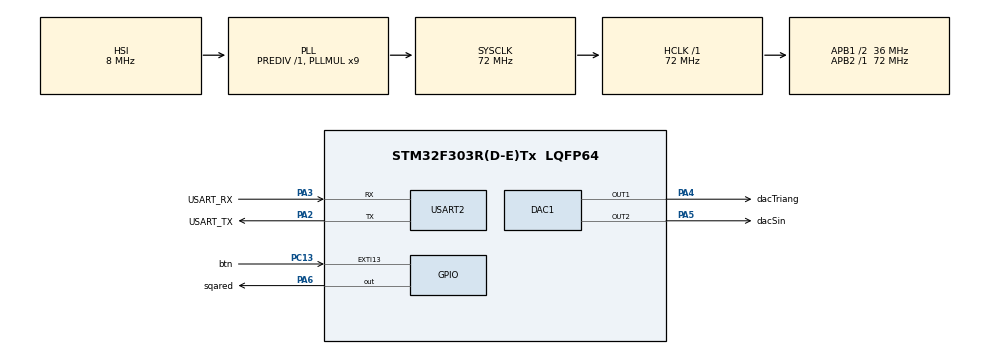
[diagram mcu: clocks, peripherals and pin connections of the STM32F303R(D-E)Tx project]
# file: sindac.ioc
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DAC1.DAC_Trigger=DAC_TRIGGER_SOFTWARE
DAC1.DAC_Trigger2=DAC_TRIGGER_SOFTWARE
DAC1.WaveGeneration2=DISABLE
Dma.DAC1_CH2.0.Direction=DMA_MEMORY_TO_PERIPH
Dma.DAC1_CH2.0.Instance=DMA1_Channel4
Dma.DAC1_CH2.0.MemDataAlignment=DMA_MDATAALIGN_HALFWORD
Dma.DAC1_CH2.0.MemInc=DMA_MINC_ENABLE
Dma.DAC1_CH2.0.Mode=DMA_CIRCULAR
Dma.DAC1_CH2.0.PeriphDataAlignment=DMA_PDATAALIGN_HALFWORD
Dma.DAC1_CH2.0.PeriphInc=DMA_PINC_DISABLE
Dma.DAC1_CH2.0.Priority=DMA_PRIORITY_LOW
Dma.Request0=DAC1_CH2
Mcu.Family=STM32F3
Mcu.Name=STM32F303R(D-E)Tx
Mcu.Package=LQFP64
NVIC.DMA1_Channel4_IRQn=true\:0\:0\:false\:false\:true\:false
NVIC.PriorityGroup=NVIC_PRIORITYGROUP_0
NVIC.TIM6_DAC_IRQn=true\:0\:0\:false\:false\:true\:true
PA13.GPIO_Label=TMS
PA13.Mode=Serial_Wire
PA13.Signal=SYS_JTMS-SWDIO
PA14.GPIO_Label=TCK
PA14.Mode=Serial_Wire
PA14.Signal=SYS_JTCK-SWCLK
PA2.GPIO_Label=USART_TX
PA2.GPIO_Mode=GPIO_MODE_AF_PP
PA2.GPIO_PuPd=GPIO_NOPULL
PA2.GPIO_Speed=GPIO_SPEED_FREQ_LOW
PA2.Mode=Asynchronous
PA2.Signal=USART2_TX
PA3.GPIO_Label=USART_RX
PA3.GPIO_Mode=GPIO_MODE_AF_PP
PA3.GPIO_PuPd=GPIO_NOPULL
PA3.GPIO_Speed=GPIO_SPEED_FREQ_LOW
PA3.Mode=Asynchronous
PA3.Signal=USART2_RX
PA4.GPIO_Label=dacTriang
PA4.Signal=COMP_DAC11_group
PA5.GPIO_Label=dacSin
PA5.Signal=COMP_DAC12_group
PA6.GPIO_Label=sqared
PA6.Signal=GPIO_Output
PB3.GPIO_Label=SWO
PB3.Signal=SYS_JTDO-TRACESWO
PC13.GPIO_Label=btn
PC13.GPIO_ModeDefaultEXTI=GPIO_MODE_IT_FALLING
PC13.Signal=GPXTI13
PC14-OSC32_IN.Signal=RCC_OSC32_IN
PC15-OSC32_OUT.Signal=RCC_OSC32_OUT
PF0-OSC_IN.Signal=RCC_OSC_IN
PF1-OSC_OUT.Signal=RCC_OSC_OUT
ProjectManager.HeapSize=0x200
ProjectManager.StackSize=0x400
ProjectManager.TargetToolchain=MDK-ARM V5
RCC.AHBFreq_Value=72000000
RCC.APB1CLKDivider=RCC_HCLK_DIV2
RCC.APB1Freq_Value=36000000
RCC.APB1TimFreq_Value=72000000
RCC.APB2Freq_Value=72000000
RCC.APB2TimFreq_Value=72000000
RCC.CortexFreq_Value=72000000
RCC.HCLKFreq_Value=72000000
RCC.HSE_VALUE=8000000
RCC.HSI_VALUE=8000000
RCC.LSE_VALUE=32768
RCC.PLLM=8
RCC.PLLMUL=RCC_PLL_MUL9
RCC.PLLN=336
RCC.PLLP=RCC_PLLP_DIV4
RCC.PLLQ=7
RCC.RCC_PLLsource_Clock_Source_FROM_HSE=RCC_HSE_PREDIV_DIV2
RCC.SYSCLKFreq_VALUE=72000000
RCC.SYSCLKSourceVirtual=RCC_SYSCLKSOURCE_PLLCLK
RCC.USBFreq_Value=72000000
SH.COMP_DAC11_group.0=DAC1_OUT1,DAC_OUT1
SH.COMP_DAC12_group.0=DAC1_OUT2,Enable_DAC_OUT2
USART2.VirtualMode-Asynchronous=VM_ASYNC
board=NUCLEO-F303RE

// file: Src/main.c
/**
  ******************************************************************************
  * @file           : main.c
  * @brief          : Main program body
  ******************************************************************************
  ** This notice applies to any and all portions of this file
  * that are not between comment pairs USER CODE BEGIN and
  * USER CODE END. Other portions of this file, whether
  * inserted by the user or by software development tools
  * are owned by their respective copyright owners.
  *
  * COPYRIGHT(c) 2018 STMicroelectronics
  *
  * Redistribution and use in source and binary forms, with or without modification,
  * are permitted provided that the following conditions are met:
  *   1. Redistributions of source code must retain the above copyright notice,
  *      this list of conditions and the following disclaimer.
  *   2. Redistributions in binary form must reproduce the above copyright notice,
  *      this list of conditions and the following disclaimer in the documentation
  *      and/or other materials provided with the distribution.
  *   3. Neither the name of STMicroelectronics nor the names of its contributors
  *      may be used to endorse or promote products derived from this software
  *      without specific prior written permission.
  *
  * THIS SOFTWARE IS PROVIDED BY THE COPYRIGHT HOLDERS AND CONTRIBUTORS "AS IS"
  * AND ANY EXPRESS OR IMPLIED WARRANTIES, INCLUDING, BUT NOT LIMITED TO, THE
  * IMPLIED WARRANTIES OF MERCHANTABILITY AND FITNESS FOR A PARTICULAR PURPOSE ARE
  * DISCLAIMED. IN NO EVENT SHALL THE COPYRIGHT HOLDER OR CONTRIBUTORS BE LIABLE
  * FOR ANY DIRECT, INDIRECT, INCIDENTAL, SPECIAL, EXEMPLARY, OR CONSEQUENTIAL
  * DAMAGES (INCLUDING, BUT NOT LIMITED TO, PROCUREMENT OF SUBSTITUTE GOODS OR
  * SERVICES; LOSS OF USE, DATA, OR PROFITS; OR BUSINESS INTERRUPTION) HOWEVER
  * CAUSED AND ON ANY THEORY OF LIABILITY, WHETHER IN CONTRACT, STRICT LIABILITY,
  * OR TORT (INCLUDING NEGLIGENCE OR OTHERWISE) ARISING IN ANY WAY OUT OF THE USE
  * OF THIS SOFTWARE, EVEN IF ADVISED OF THE POSSIBILITY OF SUCH DAMAGE.
  *
  ******************************************************************************
  */
#include "main.h"
#include "stm32f3xx_hal.h"

/* USER CODE BEGIN Includes */
#include <math.h>

#define N 200
#define M_PI 3.141592653

/* USER CODE END Includes */

DAC_HandleTypeDef hdac1;
DMA_HandleTypeDef hdma_dac1_ch2;

UART_HandleTypeDef huart2;

/* USER CODE BEGIN PV */
/* Private variables ---------------------------------------------------------*/
uint32_t sinsig[N], trian[N], squa[N];
int pos;
/* USER CODE END PV */

void SystemClock_Config(void);
static void MX_GPIO_Init(void);
static void MX_DMA_Init(void);
static void MX_USART2_UART_Init(void);
static void MX_DAC1_Init(void);

/* USER CODE BEGIN PFP */
/* Private function prototypes -----------------------------------------------*/

/* USER CODE END PFP */

/* USER CODE BEGIN 0 */
void setSeno(float paso)
{
	/*
	*paso 0.01 835Hz
	*paso 0.1 7.538KHz
	*paso 0.151 11.29 KHz cuadrados
	*paso 0.2 14.078KHz ya feos
	*paso 1.0 65.99KHz horribles
	*/
	float seno, i, aux;
	pos = 0;
	for(i = 0.0;i < (2*M_PI);i+=paso)
	{
		seno = sin(i);
		aux = seno * 1815;
		aux += 1815;
		sinsig[pos] = (uint32_t)aux;
		if(pos < N)
		{
			pos++;
		}
		else
		{
			break;
		}
	}
}

void setTrian()
{
	int i;
	int medio = pos / 2;
	int medio1 = medio + 1;
	int medio2 = medio + 1;
	int paso;

	paso = 3630/medio;

	trian[0] = 0;

	for(i = 1; i <= medio1; i++)
	{
		//trian[i] = sinsig[i];
		trian[i] = trian[i-1] + paso;
	}
	for(i = medio2; i < pos; i++)
	{
		if((trian[i-1] - paso) < 4096)
		{
			trian[i] = trian[i-1] - paso;
		}
		else
		{
			break;
		}
	}
}

void setSquare()
{
	int i;
	int medio = pos / 2;
	int medio1 = medio + 1;
	int medio2 = medio + 1;

	for(i = 1; i <= medio1; i++)
	{
		squa[i] = 0;
	}
	for(i = medio2; i < pos; i++)
	{
		squa[i] = 1;
	}
}

/* USER CODE END 0 */

int main(void)
{
  /* USER CODE BEGIN 1 */
	//float table[N], aux;
	//uint32_t wave[N];
	//int i;
	float pasosin = 0.04;//originalmente iba .01, pero en la integracion
	//el seno se deforma
	int j;
	int contdel = 0;//variable para un antirrebote
  /* USER CODE END 1 */

  /* MCU Configuration----------------------------------------------------------*/

  /* Reset of all peripherals, Initializes the Flash interface and the Systick. */
  HAL_Init();

  /* USER CODE BEGIN Init */
	setSeno(pasosin);
	setTrian();
	setSquare();
  /* USER CODE END Init */

  /* Configure the system clock */
  SystemClock_Config();

  /* Initialize all configured peripherals */
  MX_GPIO_Init();
  MX_DMA_Init();
  MX_USART2_UART_Init();
  MX_DAC1_Init();
  /* USER CODE BEGIN 2 */
	HAL_DAC_Init(&hdac1);
	HAL_DAC_Start(&hdac1, DAC_CHANNEL_2);
	HAL_DAC_Start(&hdac1, DAC_CHANNEL_1);
  /* USER CODE END 2 */

  /* Infinite loop */
  while (1)
  {

  /* USER CODE BEGIN 3 */
	  for(j = 0; j < pos; j++)
		{
			HAL_DAC_SetValue(&hdac1, DAC_CHANNEL_2, DAC_ALIGN_12B_R, sinsig[j]);//sinsig[j]);
			DAC->SWTRIGR = DAC_SWTRIGR_SWTRIG2;
			HAL_DAC_SetValue(&hdac1, DAC_CHANNEL_1, DAC_ALIGN_12B_R, trian[j]);
			DAC->SWTRIGR = DAC_SWTRIGR_SWTRIG1;
			HAL_GPIO_WritePin(sqared_GPIO_Port, sqared_Pin, squa[j]);

			//DAC->SWTRIGR = DAC_SWTRIGR_SWTRIG1;
		}

		//pequeño antirrebote para cambiar la frecuencia
		if(HAL_GPIO_ReadPin(btn_GPIO_Port, btn_Pin) == 0)
		{
			contdel++;
			if(contdel == 100)
			{
				//limito la freq máxima para que el seno no pierda su forma
				if(pasosin < 0.151)
				{
					pasosin += 0.001;
					setSeno(pasosin);
					setTrian();
					setSquare();
				}
				else
				{
					pasosin = 0.04;
				}
				contdel = 0;
			}
		}
		else
		{
			contdel = 0;
		}

  }
  /* USER CODE END 3 */

}

void SystemClock_Config(void)
{

  RCC_OscInitTypeDef RCC_OscInitStruct;
  RCC_ClkInitTypeDef RCC_ClkInitStruct;
  RCC_PeriphCLKInitTypeDef PeriphClkInit;

    /**Initializes the CPU, AHB and APB busses clocks
    */
  RCC_OscInitStruct.OscillatorType = RCC_OSCILLATORTYPE_HSI;
  RCC_OscInitStruct.HSIState = RCC_HSI_ON;
  RCC_OscInitStruct.HSICalibrationValue = 16;
  RCC_OscInitStruct.PLL.PLLState = RCC_PLL_ON;
  RCC_OscInitStruct.PLL.PLLSource = RCC_PLLSOURCE_HSI;
  RCC_OscInitStruct.PLL.PLLMUL = RCC_PLL_MUL9;
  RCC_OscInitStruct.PLL.PREDIV = RCC_PREDIV_DIV1;
  if (HAL_RCC_OscConfig(&RCC_OscInitStruct) != HAL_OK)
  {
    _Error_Handler(__FILE__, __LINE__);
  }

    /**Initializes the CPU, AHB and APB busses clocks
    */
  RCC_ClkInitStruct.ClockType = RCC_CLOCKTYPE_HCLK|RCC_CLOCKTYPE_SYSCLK
                              |RCC_CLOCKTYPE_PCLK1|RCC_CLOCKTYPE_PCLK2;
  RCC_ClkInitStruct.SYSCLKSource = RCC_SYSCLKSOURCE_PLLCLK;
  RCC_ClkInitStruct.AHBCLKDivider = RCC_SYSCLK_DIV1;
  RCC_ClkInitStruct.APB1CLKDivider = RCC_HCLK_DIV2;
  RCC_ClkInitStruct.APB2CLKDivider = RCC_HCLK_DIV1;

  if (HAL_RCC_ClockConfig(&RCC_ClkInitStruct, FLASH_LATENCY_2) != HAL_OK)
  {
    _Error_Handler(__FILE__, __LINE__);
  }

  PeriphClkInit.PeriphClockSelection = RCC_PERIPHCLK_USART2;
  PeriphClkInit.Usart2ClockSelection = RCC_USART2CLKSOURCE_PCLK1;
  if (HAL_RCCEx_PeriphCLKConfig(&PeriphClkInit) != HAL_OK)
  {
    _Error_Handler(__FILE__, __LINE__);
  }

    /**Configure the Systick interrupt time
    */
  HAL_SYSTICK_Config(HAL_RCC_GetHCLKFreq()/1000);

    /**Configure the Systick
    */
  HAL_SYSTICK_CLKSourceConfig(SYSTICK_CLKSOURCE_HCLK);

  /* SysTick_IRQn interrupt configuration */
  HAL_NVIC_SetPriority(SysTick_IRQn, 0, 0);
}

/* DAC1 init function */
static void MX_DAC1_Init(void)
{

  DAC_ChannelConfTypeDef sConfig;

    /**DAC Initialization
    */
  hdac1.Instance = DAC1;
  if (HAL_DAC_Init(&hdac1) != HAL_OK)
  {
    _Error_Handler(__FILE__, __LINE__);
  }

    /**DAC channel OUT1 config
    */
  sConfig.DAC_Trigger = DAC_TRIGGER_SOFTWARE;
  sConfig.DAC_OutputBuffer = DAC_OUTPUTBUFFER_ENABLE;
  if (HAL_DAC_ConfigChannel(&hdac1, &sConfig, DAC_CHANNEL_1) != HAL_OK)
  {
    _Error_Handler(__FILE__, __LINE__);
  }

    /**DAC channel OUT2 config
    */
  if (HAL_DAC_ConfigChannel(&hdac1, &sConfig, DAC_CHANNEL_2) != HAL_OK)
  {
    _Error_Handler(__FILE__, __LINE__);
  }

}

/* USART2 init function */
static void MX_USART2_UART_Init(void)
{

  huart2.Instance = USART2;
  huart2.Init.BaudRate = 38400;
  huart2.Init.WordLength = UART_WORDLENGTH_7B;
  huart2.Init.StopBits = UART_STOPBITS_1;
  huart2.Init.Parity = UART_PARITY_NONE;
  huart2.Init.Mode = UART_MODE_TX_RX;
  huart2.Init.HwFlowCtl = UART_HWCONTROL_NONE;
  huart2.Init.OverSampling = UART_OVERSAMPLING_16;
  huart2.Init.OneBitSampling = UART_ONE_BIT_SAMPLE_DISABLE;
  huart2.AdvancedInit.AdvFeatureInit = UART_ADVFEATURE_NO_INIT;
  if (HAL_UART_Init(&huart2) != HAL_OK)
  {
    _Error_Handler(__FILE__, __LINE__);
  }

}

static void MX_DMA_Init(void)
{
  /* DMA controller clock enable */
  __HAL_RCC_DMA1_CLK_ENABLE();

  /* DMA interrupt init */
  /* DMA1_Channel4_IRQn interrupt configuration */
  HAL_NVIC_SetPriority(DMA1_Channel4_IRQn, 0, 0);
  HAL_NVIC_EnableIRQ(DMA1_Channel4_IRQn);

}

/** Configure pins as
        * Analog
        * Input
        * Output
        * EVENT_OUT
        * EXTI
*/
static void MX_GPIO_Init(void)
{

  GPIO_InitTypeDef GPIO_InitStruct;

  /* GPIO Ports Clock Enable */
  __HAL_RCC_GPIOC_CLK_ENABLE();
  __HAL_RCC_GPIOF_CLK_ENABLE();
  __HAL_RCC_GPIOA_CLK_ENABLE();
  __HAL_RCC_GPIOB_CLK_ENABLE();

  /*Configure GPIO pin Output Level */
  HAL_GPIO_WritePin(sqared_GPIO_Port, sqared_Pin, GPIO_PIN_RESET);

  /*Configure GPIO pin : btn_Pin */
  GPIO_InitStruct.Pin = btn_Pin;
  GPIO_InitStruct.Mode = GPIO_MODE_IT_FALLING;
  GPIO_InitStruct.Pull = GPIO_NOPULL;
  HAL_GPIO_Init(btn_GPIO_Port, &GPIO_InitStruct);

  /*Configure GPIO pin : sqared_Pin */
  GPIO_InitStruct.Pin = sqared_Pin;
  GPIO_InitStruct.Mode = GPIO_MODE_OUTPUT_PP;
  GPIO_InitStruct.Pull = GPIO_NOPULL;
  GPIO_InitStruct.Speed = GPIO_SPEED_FREQ_LOW;
  HAL_GPIO_Init(sqared_GPIO_Port, &GPIO_InitStruct);

}

void _Error_Handler(char *file, int line)
{
  while(1)
  {
  }
}

/************************ (C) COPYRIGHT STMicroelectronics *****END OF FILE****/
